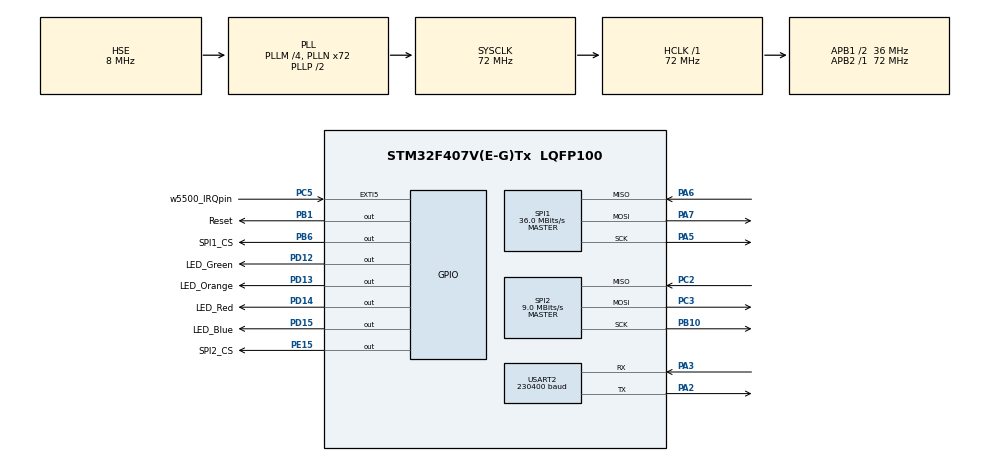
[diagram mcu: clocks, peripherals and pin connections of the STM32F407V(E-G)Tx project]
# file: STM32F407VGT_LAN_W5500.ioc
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FATFS._MAX_SS=4096
FATFS._USE_LFN=1
Mcu.Family=STM32F4
Mcu.Name=STM32F407V(E-G)Tx
Mcu.Package=LQFP100
NVIC.EXTI9_5_IRQn=true\:0\:0\:false\:false\:true\:true\:true
NVIC.PriorityGroup=NVIC_PRIORITYGROUP_0
PA13.Mode=Serial_Wire
PA13.Signal=SYS_JTMS-SWDIO
PA14.Mode=Serial_Wire
PA14.Signal=SYS_JTCK-SWCLK
PA2.Mode=Asynchronous
PA2.Signal=USART2_TX
PA3.Mode=Asynchronous
PA3.Signal=USART2_RX
PA5.Mode=Full_Duplex_Master
PA5.Signal=SPI1_SCK
PA6.Mode=Full_Duplex_Master
PA6.Signal=SPI1_MISO
PA7.Mode=Full_Duplex_Master
PA7.Signal=SPI1_MOSI
PB1.GPIO_Label=Reset
PB1.GPIO_Speed=GPIO_SPEED_FREQ_HIGH
PB1.PinState=GPIO_PIN_SET
PB1.Signal=GPIO_Output
PB10.Mode=Full_Duplex_Master
PB10.Signal=SPI2_SCK
PB6.GPIO_Label=SPI1_CS
PB6.GPIO_Speed=GPIO_SPEED_FREQ_HIGH
PB6.PinState=GPIO_PIN_RESET
PB6.Signal=GPIO_Output
PC2.Mode=Full_Duplex_Master
PC2.Signal=SPI2_MISO
PC3.Mode=Full_Duplex_Master
PC3.Signal=SPI2_MOSI
PC5.GPIO_Label=w5500_IRQpin
PC5.GPIO_ModeDefaultEXTI=GPIO_MODE_IT_FALLING
PC5.GPIO_PuPd=GPIO_NOPULL
PC5.Signal=GPXTI5
PD12.GPIO_Label=LED_Green
PD12.GPIO_Speed=GPIO_SPEED_FREQ_HIGH
PD12.Signal=GPIO_Output
PD13.GPIO_Label=LED_Orange
PD13.GPIO_Speed=GPIO_SPEED_FREQ_HIGH
PD13.Signal=GPIO_Output
PD14.GPIO_Label=LED_Red
PD14.GPIO_Speed=GPIO_SPEED_FREQ_HIGH
PD14.Signal=GPIO_Output
PD15.GPIO_Label=LED_Blue
PD15.GPIO_Speed=GPIO_SPEED_FREQ_HIGH
PD15.Signal=GPIO_Output
PE15.GPIO_Label=SPI2_CS
PE15.GPIO_Speed=GPIO_SPEED_FREQ_HIGH
PE15.Signal=GPIO_Output
PH0-OSC_IN.Mode=HSE-External-Oscillator
PH0-OSC_IN.Signal=RCC_OSC_IN
PH1-OSC_OUT.Mode=HSE-External-Oscillator
PH1-OSC_OUT.Signal=RCC_OSC_OUT
ProjectManager.HeapSize=0x400
ProjectManager.StackSize=0x800
ProjectManager.TargetToolchain=STM32CubeIDE
RCC.48MHZClocksFreq_Value=48000000
RCC.AHBFreq_Value=72000000
RCC.APB1CLKDivider=RCC_HCLK_DIV2
RCC.APB1Freq_Value=36000000
RCC.APB1TimFreq_Value=72000000
RCC.APB2Freq_Value=72000000
RCC.APB2TimFreq_Value=72000000
RCC.CortexFreq_Value=72000000
RCC.HCLKFreq_Value=72000000
RCC.HSE_VALUE=8000000
RCC.HSI_VALUE=16000000
RCC.LSE_VALUE=32768
RCC.PLLM=4
RCC.PLLN=72
RCC.PLLQ=3
RCC.PLLSourceVirtual=RCC_PLLSOURCE_HSE
RCC.SYSCLKFreq_VALUE=72000000
RCC.SYSCLKSource=RCC_SYSCLKSOURCE_PLLCLK
RCC.VCOOutputFreq_Value=144000000
SPI1.BaudRatePrescaler=SPI_BAUDRATEPRESCALER_2
SPI1.CalculateBaudRate=36.0 MBits/s
SPI1.Direction=SPI_DIRECTION_2LINES
SPI1.Mode=SPI_MODE_MASTER
SPI1.VirtualType=VM_MASTER
SPI2.BaudRatePrescaler=SPI_BAUDRATEPRESCALER_4
SPI2.CalculateBaudRate=9.0 MBits/s
SPI2.Direction=SPI_DIRECTION_2LINES
SPI2.Mode=SPI_MODE_MASTER
SPI2.VirtualType=VM_MASTER
USART2.BaudRate=230400
USART2.VirtualMode=VM_ASYNC
VP_FATFS_VS_Generic.Mode=User_defined
board=STM32F407G-DISC1

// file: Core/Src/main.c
/* USER CODE BEGIN Header */
/**
  ******************************************************************************
  * @file           : main.c
  * @brief          : Main program body
  ******************************************************************************
  * @attention
  *
  * <h2><center>&copy; Copyright (c) 2020 STMicroelectronics.
  * All rights reserved.</center></h2>
  *
  * This software component is licensed by ST under Ultimate Liberty license
  * SLA0044, the "License"; You may not use this file except in compliance with
  * the License. You may obtain a copy of the License at:
  *                             www.st.com/SLA0044
  *
  ******************************************************************************
  */
/* USER CODE END Header */
#include "main.h"
#include "fatfs.h"
#include "spi.h"
#include "usart.h"
#include "gpio.h"

/* USER CODE BEGIN Includes */
#include "sd_spi.h"
/* USER CODE END Includes */

/* USER CODE BEGIN PD */
#define LED_Blue_ON HAL_GPIO_WritePin(GPIOD, GPIO_PIN_15, GPIO_PIN_SET);
/* USER CODE END PD */

/* USER CODE BEGIN PV */
uint8_t w5500_irq_flag;
uint8_t irq_prc = 1;
/* USER CODE END PV */

void SystemClock_Config(void);
/* USER CODE BEGIN PFP */
void W5500_Init(void);
void W5500_Irq_Process(uint8_t sock_num);
/* USER CODE END PFP */

int main(void)
{

  /* MCU Configuration--------------------------------------------------------*/

  /* Reset of all peripherals, Initializes the Flash interface and the Systick. */
  HAL_Init();

  /* Configure the system clock */
  SystemClock_Config();

  /* Initialize all configured peripherals */
  MX_GPIO_Init();
  MX_SPI1_Init();
  MX_USART2_UART_Init();
  MX_SPI2_Init();
  MX_FATFS_Init();
  /* USER CODE BEGIN 2 */
  SD_SPI_Init();
  SD_SPI_MountLogicalDrive();
  W5500_Init();
  /* USER CODE END 2 */

  /* Infinite loop */
  /* USER CODE BEGIN WHILE */
  while (1)
  {
  	if(w5500_irq_flag){
  		W5500_Irq_Process(0);		// Выбор сокета по порту соединения!!!
  	}
    /* USER CODE END WHILE */

  }
}

void SystemClock_Config(void)
{
  RCC_OscInitTypeDef RCC_OscInitStruct = {0};
  RCC_ClkInitTypeDef RCC_ClkInitStruct = {0};

  /** Configure the main internal regulator output voltage
  */
  __HAL_RCC_PWR_CLK_ENABLE();
  __HAL_PWR_VOLTAGESCALING_CONFIG(PWR_REGULATOR_VOLTAGE_SCALE1);
  /** Initializes the RCC Oscillators according to the specified parameters
  * in the RCC_OscInitTypeDef structure.
  */
  RCC_OscInitStruct.OscillatorType = RCC_OSCILLATORTYPE_HSE;
  RCC_OscInitStruct.HSEState = RCC_HSE_ON;
  RCC_OscInitStruct.PLL.PLLState = RCC_PLL_ON;
  RCC_OscInitStruct.PLL.PLLSource = RCC_PLLSOURCE_HSE;
  RCC_OscInitStruct.PLL.PLLM = 4;
  RCC_OscInitStruct.PLL.PLLN = 72;
  RCC_OscInitStruct.PLL.PLLP = RCC_PLLP_DIV2;
  RCC_OscInitStruct.PLL.PLLQ = 3;
  if (HAL_RCC_OscConfig(&RCC_OscInitStruct) != HAL_OK)
  {
    Error_Handler();
  }
  /** Initializes the CPU, AHB and APB buses clocks
  */
  RCC_ClkInitStruct.ClockType = RCC_CLOCKTYPE_HCLK|RCC_CLOCKTYPE_SYSCLK
                              |RCC_CLOCKTYPE_PCLK1|RCC_CLOCKTYPE_PCLK2;
  RCC_ClkInitStruct.SYSCLKSource = RCC_SYSCLKSOURCE_PLLCLK;
  RCC_ClkInitStruct.AHBCLKDivider = RCC_SYSCLK_DIV1;
  RCC_ClkInitStruct.APB1CLKDivider = RCC_HCLK_DIV2;
  RCC_ClkInitStruct.APB2CLKDivider = RCC_HCLK_DIV1;

  if (HAL_RCC_ClockConfig(&RCC_ClkInitStruct, FLASH_LATENCY_2) != HAL_OK)
  {
    Error_Handler();
  }
}

/* USER CODE BEGIN 4 */
void HAL_GPIO_EXTI_Callback(uint16_t GPIO_Pin)
{
	if(GPIO_Pin == GPIO_PIN_5 || irq_prc){
		w5500_irq_flag = 1;
		irq_prc = 0;
	}
}
/* USER CODE END 4 */

void Error_Handler(void)
{
  /* USER CODE BEGIN Error_Handler_Debug */
  /* User can add his own implementation to report the HAL error return state */
	LED_Red_ON;
	while(1);
  /* USER CODE END Error_Handler_Debug */
}

/************************ (C) COPYRIGHT STMicroelectronics *****END OF FILE****/
